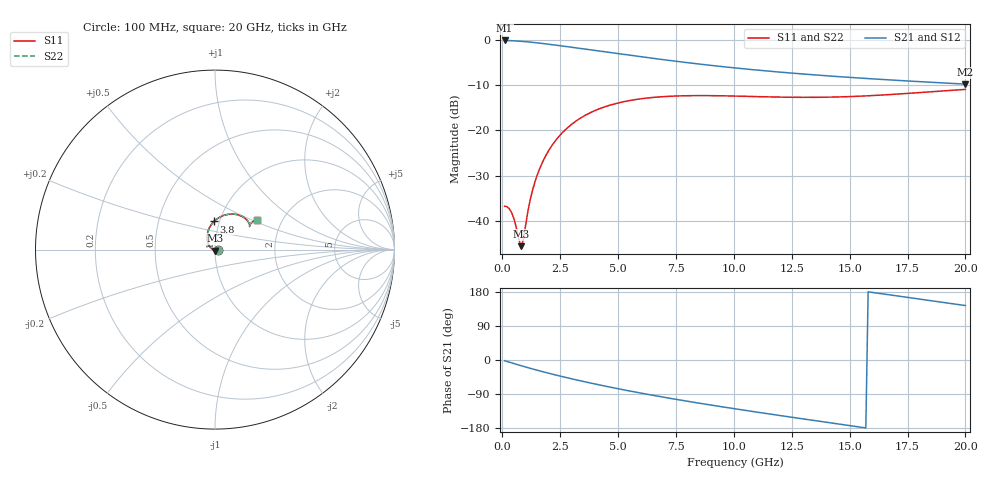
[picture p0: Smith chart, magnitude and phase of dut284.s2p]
! Touchstone file exported from HFSS 2024.1.0
!  File:  C:/UserFiles/LocalFiles/RDL_TSV_Batchsim/temp_RDL_TSV_284_1779465180.aedt
!  Generated:  12:07:13 AM May 23, 2026
!  Design:  RDL_TSV
!  Project:  temp_RDL_TSV_284_1779465180
!  Setup:  Setup1
!  Solution:  Sweep
! Variables:
!  dtsv = 11.17um
!  hbump = 3um
!  htsv = 86.93um
!  ldown = 415.02um
!  lrdl = 425.22um
!  p = 40
!  p1 = 44.1um
!  rhole = 10um
!  subl = 2945.94um
!  t = 450um
!  tdown = 3.91um
!  trdl = 4.44um
!  viad = 10um
!  wdown = 14.21um
!  wrdl = 22.46um
!  xbump = 18um
# GHz S MA R 50.000000
! Terminal data exported
! Port[1] = TM1_1_T1
! Port[2] = TM1_4_T1
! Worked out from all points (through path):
!   200 points, 100 MHz to 20 GHz, reference 50 ohm
!   highest |S21| = -0.13 dB at 100 MHz (marker M1); lowest = -9.8 dB at 20 GHz (marker M2)
!   group delay of S21, straight-line fit = 28.3 ps
!   lowest |S11| = -45.6 dB at 800 MHz (marker M3), VSWR 1.01, Z = 49.9 - j0.521 ohm
!   |S11| at or under -10 dB: start of sweep to end of sweep
!   |S22| runs from -45.6 to -10.9 dB; largest |S21 - S12| = 1.2e-14
!   S11 on the Smith chart (normalised r, x): 100 MHz: 1.03, -0.00; 3.8 GHz: 0.94, +0.30; 20 GHz: 1.49, +0.53
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0.1  0.01451 -2.9  0.9849 -1.9  0.9849 -1.9  0.01451 -2.9
! Gamma 0 0 0 0
! Port Impedance 50 0 50 0
0.3  0.01365 -14.1  0.9812 -5.7  0.9812 -5.7  0.01365 -14.1
0.4  0.01235 -21.6  0.9787 -7.6  0.9787 -7.6  0.01235 -21.5
0.5  0.01061 -30.6  0.9758 -9.4  0.9758 -9.4  0.01061 -30.6
0.8  0.005255 -96.7  0.9646 -14.8  0.9646 -14.8  0.00525 -96.8
0.9  0.006043 -137.4  0.9601 -16.6  0.9601 -16.6  0.006047 -137.6
1.1  0.01251 -179.6  0.9501 -20.1  0.9501 -20.1  0.01253 -179.6
1.3  0.02145 163.2  0.939 -23.5  0.939 -23.5  0.02149 163.2
1.5  0.03157 152.4  0.9271 -26.9  0.9271 -26.9  0.03162 152.4
1.8  0.04806 140.4  0.9081 -31.8  0.9081 -31.8  0.04813 140.4
2.1  0.0654 130.6  0.8884 -36.5  0.8884 -36.5  0.06549 130.6
2.5  0.08878 119.6  0.8617 -42.5  0.8617 -42.5  0.08889 119.6
3  0.1169 107.7  0.8285 -49.7  0.8285 -49.7  0.1171 107.7
3.5  0.1427 97.5  0.796 -56.6  0.796 -56.6  0.1429 97.5
3.8  0.1567 92.0  0.7769 -60.6  0.7769 -60.6  0.1569 92.0
5.1  0.2035 72.4  0.699 -77.0  0.699 -77.0  0.2037 72.4
6.8  0.2344 54.5  0.6112 -96.4  0.6112 -96.4  0.2348 54.5
8.4  0.2422 43.6  0.5442 -112.9  0.5442 -112.9  0.2426 43.6
10.1  0.2392 36.8  0.488 -129.3  0.488 -129.3  0.2397 36.8
13.4  0.2316 33.9  0.4116 -159.1  0.4116 -159.1  0.2321 33.8
16.7  0.2483 36.2  0.3613 172.1  0.3613 172.1  0.2487 36.1
20  0.2837 35.3  0.3244 143.7  0.3244 143.7  0.284 35.2
